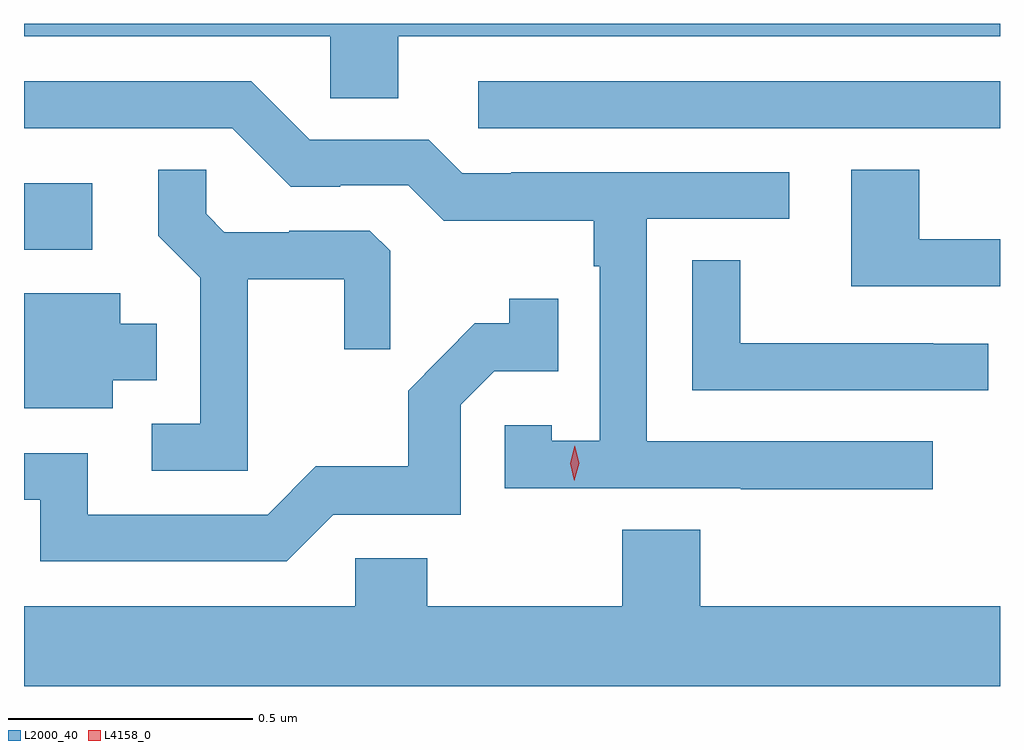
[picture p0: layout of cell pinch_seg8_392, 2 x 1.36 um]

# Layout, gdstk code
import gdstk
lib = gdstk.Library(unit=1e-6, precision=1e-09)
def R(c, l, rs):  # rectangles x0, y0, x1, y1
    for r in rs: c.add(gdstk.rectangle(r[:2], r[2:], *l))
def P(c, l, *ps):  # polygons
    for p in ps: c.add(gdstk.Polygon(p, *l))
L2000_40 = (2000, 40)
L4158_0 = (4158, 0)

pinch_seg8_392 = lib.new_cell('pinch_seg8_392')
R(pinch_seg8_392, L2000_40, [(467.912,1097.415,468.052,1097.551), (468.843,1097.664,469.912,1097.76)])
P(pinch_seg8_392, L2000_40, [(468.679,1097.852),(469.912,1097.852),(469.912,1097.878),(467.912,1097.878),(467.912,1097.852),(468.54,1097.852),(468.54,1097.725),(468.679,1097.725)],
  [(469.774,1097.022),(469.188,1097.022),(469.188,1097.478),(469.48,1097.478),(469.48,1097.574),(468.91,1097.574),(468.91,1097.571),(468.81,1097.571),(468.741,1097.64),(468.498,1097.64),(468.378,1097.76),(467.912,1097.76),(467.912,1097.664),(468.339,1097.664),(468.459,1097.544),(468.56,1097.544),(468.56,1097.547),(468.699,1097.547),(468.772,1097.474),(469.08,1097.474),(469.08,1097.381),(469.092,1097.381),(469.092,1097.023),(468.993,1097.023),(468.993,1097.055),(468.897,1097.055),(468.897,1096.926),(469.381,1096.926),(469.381,1096.924),(469.774,1096.924)],
  [(468.371,1097.354),(468.568,1097.354),(468.568,1097.211),(468.662,1097.211),(468.662,1097.413),(468.621,1097.454),(468.456,1097.454),(468.456,1097.451),(468.322,1097.451),(468.285,1097.488),(468.285,1097.579),(468.187,1097.579),(468.187,1097.443),(468.273,1097.357),(468.273,1097.058),(468.174,1097.058),(468.174,1096.962),(468.371,1096.962)],
  [(469.912,1097.436),(469.747,1097.436),(469.747,1097.579),(469.607,1097.579),(469.607,1097.34),(469.912,1097.34)],
  [(469.888,1097.222),(469.775,1097.222),(469.775,1097.223),(469.38,1097.223),(469.38,1097.393),(469.281,1097.393),(469.281,1097.127),(469.888,1097.127)],
  [(468.094,1097.147),(468.184,1097.147),(468.184,1097.263),(468.109,1097.263),(468.109,1097.326),(467.912,1097.326),(467.912,1097.09),(468.094,1097.09)],
  [(468.546,1096.872),(468.807,1096.872),(468.807,1097.097),(468.876,1097.166),(469.007,1097.166),(469.007,1097.314),(468.906,1097.314),(468.906,1097.264),(468.836,1097.264),(468.699,1097.126),(468.699,1096.971),(468.51,1096.971),(468.411,1096.872),(468.043,1096.872),(468.043,1096.998),(467.912,1096.998),(467.912,1096.902),(467.945,1096.902),(467.945,1096.776),(468.45,1096.776)],
  [(469.912,1096.684),(469.298,1096.684),(469.298,1096.841),(469.138,1096.841),(469.138,1096.684),(468.738,1096.684),(468.738,1096.782),(468.591,1096.782),(468.591,1096.684),(467.912,1096.684),(467.912,1096.52),(469.912,1096.52)])
P(pinch_seg8_392, L4158_0, [(469.04,1096.941),(469.04,1096.941),(469.031,1096.977),(469.041,1097.013),(469.041,1097.013),(469.041,1097.013),(469.05,1096.977),(469.04,1096.941)])

lib.write_gds('pinch_seg8_392.gds')
